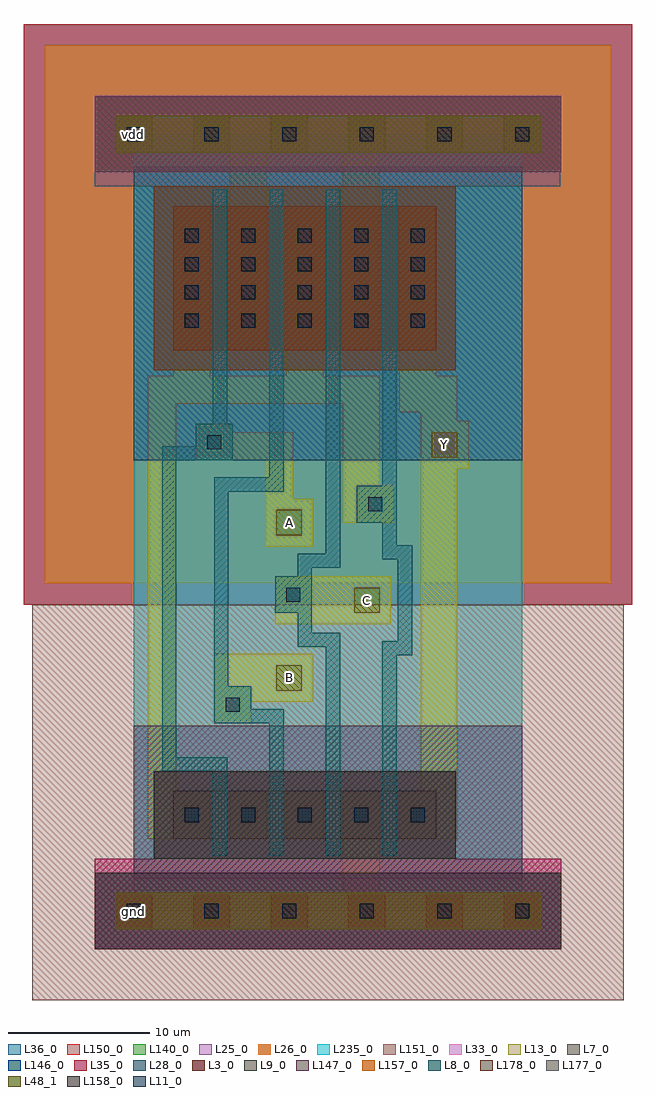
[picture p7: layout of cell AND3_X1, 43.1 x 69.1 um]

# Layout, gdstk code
import gdstk
lib = gdstk.Library(unit=1e-6, precision=1e-09)
def R(c, l, rs):  # rectangles x0, y0, x1, y1
    for r in rs: c.add(gdstk.rectangle(r[:2], r[2:], *l))
def A(c, l, x, y, w, h, nx, ny, dx, dy):  # array of equal rectangles
    R(c, l, [(x+i*dx, y+j*dy, x+i*dx+w, y+j*dy+h) for i in range(nx) for j in range(ny)])
def P(c, l, *ps):  # polygons
    for p in ps: c.add(gdstk.Polygon(p, *l))
L3_0 = (3, 0)
L7_0 = (7, 0)
L8_0 = (8, 0)
L9_0 = (9, 0)
L11_0 = (11, 0)
L13_0 = (13, 0)
L25_0 = (25, 0)
L26_0 = (26, 0)
L28_0 = (28, 0)
L33_0 = (33, 0)
L35_0 = (35, 0)
L36_0 = (36, 0)
L48_1 = (48, 1)
L140_0 = (140, 0)
L146_0 = (146, 0)
L147_0 = (147, 0)
L150_0 = (150, 0)
L151_0 = (151, 0)
L157_0 = (157, 0)
L158_0 = (158, 0)
L177_0 = (177, 0)
L178_0 = (178, 0)
L235_0 = (235, 0)

and3_x1 = lib.new_cell('AND3_X1')
A(and3_x1, L3_0, -1.3, -1.3, 2.6, 2.6, 6, 2, 5.5, 55)
R(and3_x1, L3_0, [(2.8,5.1,21.4,8.5), (2.8,39.7,21.4,49.9)])
R(and3_x1, L7_0, [(-2.75,-2.7,30.25,2.7)])
P(and3_x1, L7_0, [(1.4,38.3),(1.4,51.3),(-2.75,51.3),(-2.75,57.7),(30.25,57.7),(30.25,52.3),(30.2,52.3),(30.2,51.3),(22.8,51.3),(22.8,38.3)])
P(and3_x1, L8_0, [(5.6,3.9),(5.6,9.9),(2,9.9),(2,32.9),(4.4,32.9),(4.4,34.5),(5.6,34.5),(5.6,51.1),(6.6,51.1),(6.6,34.5),(7,34.5),(7,31.9),(3,31.9),(3,10.9),(6.6,10.9),(6.6,3.9)],
  [(9.6,3.9),(9.6,13.3),(5.7,13.3),(5.7,30.7),(9.6,30.7),(9.6,51.1),(10.6,51.1),(10.6,29.7),(6.7,29.7),(6.7,15.9),(8.3,15.9),(8.3,14.3),(10.6,14.3),(10.6,3.9)],
  [(13.6,3.9),(13.6,18.7),(11.6,18.7),(11.6,21.1),(10,21.1),(10,23.7),(11.6,23.7),(11.6,25.3),(13.6,25.3),(13.6,51.1),(14.6,51.1),(14.6,24.3),(12.6,24.3),(12.6,19.7),(14.6,19.7),(14.6,3.9)],
  [(17.6,3.9),(17.6,19.1),(18.7,19.1),(18.7,24.9),(17.6,24.9),(17.6,27.5),(15.8,27.5),(15.8,30.1),(17.6,30.1),(17.6,51.1),(18.6,51.1),(18.6,25.9),(19.7,25.9),(19.7,18.1),(18.6,18.1),(18.6,3.9)])
R(and3_x1, L9_0, [(1.4,3.7,22.8,9.9), (-2.75,52.3,30.25,57.7)])
A(and3_x1, L11_0, -0.5, -0.5, 1, 1, 6, 2, 5.5, 55)
A(and3_x1, L11_0, 3.6, 41.3, 1, 1, 1, 4, 0, 2)
A(and3_x1, L11_0, 19.6, 41.3, 1, 1, 1, 4, 0, 2)
R(and3_x1, L11_0, [(3.6,6.3,4.6,7.3), (7.6,6.3,8.6,7.3), (7.6,6.3,8.6,7.3), (11.6,6.3,12.6,7.3), (11.6,6.3,12.6,7.3), (15.6,6.3,16.6,7.3), (15.6,6.3,16.6,7.3), (19.6,6.3,20.6,7.3), (6.5,14.1,7.5,15.1), (10.8,21.9,11.8,22.9), (16.6,28.3,17.6,29.3), (5.2,32.7,6.2,33.7), (7.6,41.3,8.6,42.3), (7.6,41.3,8.6,42.3), (11.6,41.3,12.6,42.3), (11.6,41.3,12.6,42.3), (15.6,41.3,16.6,42.3), (15.6,41.3,16.6,42.3), (7.6,43.3,8.6,44.3), (7.6,43.3,8.6,44.3), (11.6,43.3,12.6,44.3), (11.6,43.3,12.6,44.3), (15.6,43.3,16.6,44.3), (15.6,43.3,16.6,44.3), (7.6,45.3,8.6,46.3), (7.6,45.3,8.6,46.3), (11.6,45.3,12.6,46.3), (11.6,45.3,12.6,46.3), (15.6,45.3,16.6,46.3), (15.6,45.3,16.6,46.3), (7.6,47.3,8.6,48.3), (7.6,47.3,8.6,48.3), (11.6,47.3,12.6,48.3), (11.6,47.3,12.6,48.3), (15.6,47.3,16.6,48.3), (15.6,47.3,16.6,48.3)])
R(and3_x1, L13_0, [(6.8,5.1,9.4,8.5), (10.8,5.1,13.4,8.5), (10,20.3,18.2,23.7)])
P(and3_x1, L13_0, [(-1.3,-1.3),(-1.3,1.3),(14.8,1.3),(14.8,8.5),(17.4,8.5),(17.4,1.3),(28.8,1.3),(28.8,-1.3)],
  [(5.7,13.3),(5.7,18.2),(12.7,18.2),(12.7,14.8),(8.3,14.8),(8.3,13.3)],
  [(9.3,25.8),(9.3,31.9),(4.4,31.9),(4.4,34.5),(7,34.5),(7,33.9),(11.3,33.9),(11.3,29.2),(12.7,29.2),(12.7,25.8)],
  [(1,5.1),(1,37.9),(2.8,37.9),(2.8,49.9),(5.4,49.9),(5.4,37.9),(10.8,37.9),(10.8,49.9),(13.4,49.9),(13.4,37.9),(17.4,37.9),(17.4,30.1),(18.4,30.1),(18.4,27.5),(14.8,27.5),(14.8,35.9),(3,35.9),(3,8.5),(5.4,8.5),(5.4,5.1)],
  [(18.8,5.1),(18.8,8.5),(20.3,8.5),(20.3,35.3),(18.8,35.3),(18.8,49.9),(21.4,49.9),(21.4,37.9),(22.9,37.9),(22.9,34.7),(23.7,34.7),(23.7,31.3),(22.9,31.3),(22.9,5.1)],
  [(6.8,39.7),(6.8,53.7),(-1.3,53.7),(-1.3,56.3),(28.8,56.3),(28.8,53.7),(17.4,53.7),(17.4,39.7),(14.8,39.7),(14.8,53.7),(9.4,53.7),(9.4,39.7)])
R(and3_x1, L25_0, [(-6.3,23.2,33.8,61.3)])
R(and3_x1, L26_0, [(-6.3,23.2,33.8,61.3)])
R(and3_x1, L28_0, [(-2.75,-2.7,30.25,2.7), (1.4,38.3,22.8,51.3)])
P(and3_x1, L33_0, [(-2.75,-2.7),(-2.75,3.7),(1.4,3.7),(1.4,9.9),(22.8,9.9),(22.8,3.7),(30.25,3.7),(30.25,-2.7)],
  [(1.4,38.3),(1.4,51.3),(-2.75,51.3),(-2.75,57.7),(30.25,57.7),(30.25,52.3),(30.2,52.3),(30.2,51.3),(22.8,51.3),(22.8,38.3)])
R(and3_x1, L35_0, [(-2.75,52.3,30.25,57.7)])
P(and3_x1, L35_0, [(-2.75,-2.7),(-2.75,3.7),(1.4,3.7),(1.4,9.9),(22.8,9.9),(22.8,3.7),(30.25,3.7),(30.25,-2.7)])
R(and3_x1, L36_0, [(-7.8,21.7,35.3,62.8)])
R(and3_x1, L48_1, [(-1.3,-1.3,28.8,1.3), (10.1,15.6,11.9,17.4), (15.6,21.1,17.4,22.9), (10.1,26.6,11.9,28.4), (21.1,32.1,22.9,33.9), (-1.3,53.7,28.8,56.3)])
R(and3_x1, L140_0, [(-6.3,23.2,33.8,61.3)])
R(and3_x1, L146_0, [(0,31.9,27.5,52.7)])
R(and3_x1, L147_0, [(0,2.3,27.5,13.1)])
R(and3_x1, L150_0, [(-7.8,21.7,35.3,62.8)])
R(and3_x1, L151_0, [(-7.2,-6.3,34.7,21.7)])
R(and3_x1, L157_0, [(1.4,38.3,22.8,51.3)])
R(and3_x1, L158_0, [(1.4,3.7,22.8,9.9)])
R(and3_x1, L177_0, [(-2.75,52.3,30.25,57.7)])
R(and3_x1, L178_0, [(-2.75,-2.7,30.25,2.7)])
R(and3_x1, L235_0, [(0,0,27.5,55)])
and3_x1.add(gdstk.Label('vdd', (0,55), layer=48, texttype=0))
and3_x1.add(gdstk.Label('gnd', (0,0), layer=48, texttype=0))
and3_x1.add(gdstk.Label('Y', (22,33), layer=48, texttype=0))
and3_x1.add(gdstk.Label('A', (11,27.5), layer=48, texttype=0))
and3_x1.add(gdstk.Label('C', (16.5,22), layer=48, texttype=0))
and3_x1.add(gdstk.Label('B', (11,16.5), layer=48, texttype=0))

lib.write_gds('AND3_X1.gds')
